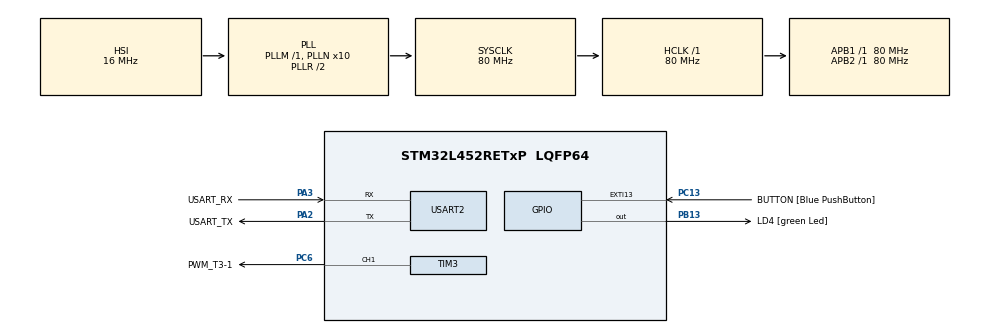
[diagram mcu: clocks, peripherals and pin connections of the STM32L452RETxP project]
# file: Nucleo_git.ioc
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FREERTOS.BinarySemaphores01=Led_PWMSem,Dynamic,NULL
FREERTOS.Tasks01=defaultTask,24,128,StartDefaultTask,Default,NULL,Dynamic,NULL,NULL;ButtonPress,24,128,StartButtonTask,Default,NULL,Dynamic,NULL,NULL;Led,24,128,StartLedTask,Default,NULL,Dynamic,NULL,NULL;PWMod,24,128,StartPWModTask,Default,NULL,Dynamic,NULL,NULL;Monitor,24,128,StartMonitorTask,Default,NULL,Dynamic,NULL,NULL
FREERTOS.configTOTAL_HEAP_SIZE=4096
FREERTOS.configUSE_NEWLIB_REENTRANT=1
Mcu.Family=STM32L4
Mcu.Name=STM32L452RETxP
Mcu.Package=LQFP64
NVIC.EXTI15_10_IRQn=true\:5\:0\:false\:false\:true\:true\:true\:true\:true
NVIC.PriorityGroup=NVIC_PRIORITYGROUP_4
NVIC.TIM2_IRQn=true\:15\:0\:false\:false\:true\:false\:false\:true\:true
NVIC.TimeBase=TIM2_IRQn
NVIC.TimeBaseIP=TIM2
PA13\ (JTMS/SWDIO).GPIO_Label=TMS
PA13\ (JTMS/SWDIO).Mode=Trace_Asynchronous_SW
PA13\ (JTMS/SWDIO).Signal=SYS_JTMS-SWDIO
PA14\ (JTCK/SWCLK).GPIO_Label=TCK
PA14\ (JTCK/SWCLK).Mode=Trace_Asynchronous_SW
PA14\ (JTCK/SWCLK).Signal=SYS_JTCK-SWCLK
PA2.GPIO_Label=USART_TX
PA2.GPIO_Mode=GPIO_MODE_AF_PP
PA2.GPIO_PuPd=GPIO_NOPULL
PA2.GPIO_Speed=GPIO_SPEED_FREQ_VERY_HIGH
PA2.Mode=Asynchronous
PA2.Signal=USART2_TX
PA3.GPIO_Label=USART_RX
PA3.GPIO_Mode=GPIO_MODE_AF_PP
PA3.GPIO_PuPd=GPIO_NOPULL
PA3.GPIO_Speed=GPIO_SPEED_FREQ_VERY_HIGH
PA3.Mode=Asynchronous
PA3.Signal=USART2_RX
PB13.GPIO_Label=LD4 [green Led]
PB13.Signal=GPIO_Output
PB3\ (JTDO/TRACESWO).GPIO_Label=SWO
PB3\ (JTDO/TRACESWO).Mode=Trace_Asynchronous_SW
PB3\ (JTDO/TRACESWO).Signal=SYS_JTDO-SWO
PC13.GPIO_Label=BUTTON [Blue PushButton]
PC13.GPIO_ModeDefaultEXTI=GPIO_MODE_IT_FALLING
PC13.GPIO_PuPd=GPIO_NOPULL
PC13.Signal=GPXTI13
PC14-OSC32_IN\ (PC14).Mode=LSE-External-Oscillator
PC14-OSC32_IN\ (PC14).Signal=RCC_OSC32_IN
PC15-OSC32_OUT\ (PC15).Mode=LSE-External-Oscillator
PC15-OSC32_OUT\ (PC15).Signal=RCC_OSC32_OUT
PC6.GPIO_Label=PWM_T3-1
PC6.Signal=S_TIM3_CH1
PH0-OSC_IN\ (PH0).GPIO_Label=MCO
PH0-OSC_IN\ (PH0).Mode=HSE-External-Clock-Source
PH0-OSC_IN\ (PH0).Signal=RCC_OSC_IN
PH1-OSC_OUT\ (PH1).Signal=RCC_OSC_OUT
ProjectManager.HeapSize=0x200
ProjectManager.StackSize=0x400
ProjectManager.TargetToolchain=STM32CubeIDE
RCC.ADCFreq_Value=64000000
RCC.AHBFreq_Value=80000000
RCC.APB1Freq_Value=80000000
RCC.APB1TimFreq_Value=80000000
RCC.APB2Freq_Value=80000000
RCC.APB2TimFreq_Value=80000000
RCC.CortexFreq_Value=80000000
RCC.HCLKFreq_Value=80000000
RCC.HSE_VALUE=8000000
RCC.HSI48_VALUE=48000000
RCC.HSI_VALUE=16000000
RCC.MSI_VALUE=4000000
RCC.PLLN=10
RCC.PLLSourceVirtual=RCC_PLLSOURCE_HSI
RCC.PREFETCH_ENABLE=1
RCC.RTCClockSelection=RCC_RTCCLKSOURCE_LSE
RCC.SYSCLKFreq_VALUE=80000000
RCC.SYSCLKSource=RCC_SYSCLKSOURCE_PLLCLK
RCC.USBFreq_Value=64000000
RCC.VCOOutputFreq_Value=160000000
RTC.Format=RTC_FORMAT_BIN
RTC.Hours=0
SH.S_TIM3_CH1.0=TIM3_CH1,PWM Generation1 CH1
TIM3.Channel-PWM\ Generation1\ CH1=TIM_CHANNEL_1
USART2.VirtualMode-Asynchronous=VM_ASYNC
VP_FREERTOS_VS_CMSIS_V2.Mode=CMSIS_V2
VP_RTC_VS_RTC_Activate.Mode=RTC_Enabled
VP_RTC_VS_RTC_Calendar.Mode=RTC_Calendar
VP_SYS_VS_tim2.Mode=TIM2
VP_TIM3_VS_ClockSourceINT.Mode=Internal
board=NUCLEO-L452RE-P

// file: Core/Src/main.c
/* USER CODE BEGIN Header */
/**
 ******************************************************************************
 * @file           : main.c
 * @brief          : Main program body
 ******************************************************************************
 * @attention
 *
 * 4май23
 * Проверка работоспособности перед возобновлением работы
 * Пришлось обновлять Github Desctop
 * 26апр22
 * @Biriuk
 * peotr60@mail.ru
 *
 * Nucleo_git
 * Изучение микроконтроллера STM32 в среде STM32CubeIDE с помощью библиотеки HAL
 * с использованием отладочной платы NUCLEO-L452RE-P в части применения прерываний
 * совместно с RTOS-CMSIS
 *
 * !!!!!!!!!!!!!!!!!!!!!!!!!!!!!!!!!!!!!!!!!!!!!!!!!!!!!!!!!!!!!!!!!!!!!!!!!!!!!!!!
 * ВНИМАНИЕ!
 * При использовании RTC в библиотеке HAL имеется серьёзный баг (время стоит), который можно
 * обойти следующим образом:
 * В файле stm32l4xx_hal_rtc.c (Drivers / Src / stm32l4xx_hal_rtc.c) закомментировать строку:
 *
 * 1560	// sTime->SubSeconds = (uint32_t)(hrtc->Instance->SSR);
 *
 * При этом следует иметь в виду, что каждый раз после пересборки проекта придётся каждый раз
 * закоментировать эту строку вручную.
 * Подробнее см. README.md
 * !!!!!!!!!!!!!!!!!!!!!!!!!!!!!!!!!!!!!!!!!!!!!!!!!!!!!!!!!!!!!!!!!!!!!!!!!!!!!!!!
 *
 * !!!!!!!!!!!!!!!!!!!!!!!!!!!!!!!!!!!!!!!!!!!!!!!!!!!!!!!!!!!!!!!!!!!!!!!!!!!!!!!!
 * ВНИМАНИЕ! В проекте Nucleo_git на ветке изучения прерываний совместно с RTOS-CMSIS обнаружил
 * проблему, решить которую не мог несколько дней. Не было вывода информации на ПК по каналу SWO.
 * Сравнение с действующим проектом RTOS_ETAPY показало отсутствие файлов syscalls.c и sysmem.c
 * в Core / Src. Тупо взял эти файлы из проекта RTOS_ETAPY, и вставил в
 * D:\STM32\STM32_File\Nucleo_git\Core\Src, и ВСЁ ЗАРАБОТАЛО!
 * !!!!!!!!!!!!!!!!!!!!!!!!!!!!!!!!!!!!!!!!!!!!!!!!!!!!!!!!!!!!!!!!!!!!!!!!!!!!!!!!
 *
 * Ветка RTOS_ISR, на которой расположен код для изучения прерываний в среде RTOS,
 * сохраняемая в GitHub по адресу:
 * https://github.com/Peotr-B/Nucleo_git.git
 *
 * Ещё см. READMY.md
 *
 * За основу взят материал:
 *
 * STM32 от Булкина. Урок 1: Вводный, где мы немножко похулиганим
 * https://pikabu.ru/story/stm32_ot_bulkina_urok_1_vvodnyiy_gde_myi_nemnozhko_pokhuliganim_5526124
 *
 * а также:
 *
 * FreeRTOS для чайников. Краткое описание
 * http://easyelectronics.ru/freertos_manual.html
 *
 * STM Урок 116. FreeRTOS. Прерывания. Очереди в прерываниях
 * https://narodstream.ru/stm-urok-116-freertos-preryvaniya-ocheredi-v-preryvaniyax-chast-1/
 *
 * Используем светофоры в системе FreeRTOS на базе платы Arduino Nano в среде программирования Arduino IDE
 * https://texnohelp.com/arduino_freertos_lesson3/
 *
 * Осваиваем FreeRtos на примере приема-передачи по UART
 * https://kkmspb.ru/development/microcontrollers/UART/ISR_UART_Atollic_STM32F407VE.php
 *
 * Прерывания UART в FreeRTOS с драйвером STM32 HAL
 * https://question-it.com/questions/3532617/preryvanija-uart-v-freertos-s-drajverom-stm32-hal
 *
 * Copyright (c) 2022 STMicroelectronics.
 * All rights reserved.
 *
 * This software is licensed under terms that can be found in the LICENSE file
 * in the root directory of this software component.
 * If no LICENSE file comes with this software, it is provided AS-IS.
 *
 ******************************************************************************
 */
/* USER CODE END Header */
#include "main.h"
#include "cmsis_os.h"

/* USER CODE BEGIN Includes */
#include "string.h" // это для функции strlen()
#include <stdio.h>
/* USER CODE END Includes */

RTC_HandleTypeDef hrtc;

TIM_HandleTypeDef htim3;

UART_HandleTypeDef huart2;

/* Definitions for defaultTask */
osThreadId_t defaultTaskHandle;
const osThreadAttr_t defaultTask_attributes = {
  .name = "defaultTask",
  .stack_size = 128 * 4,
  .priority = (osPriority_t) osPriorityNormal,
};
/* Definitions for ButtonPress */
osThreadId_t ButtonPressHandle;
const osThreadAttr_t ButtonPress_attributes = {
  .name = "ButtonPress",
  .stack_size = 128 * 4,
  .priority = (osPriority_t) osPriorityNormal,
};
/* Definitions for Led */
osThreadId_t LedHandle;
const osThreadAttr_t Led_attributes = {
  .name = "Led",
  .stack_size = 128 * 4,
  .priority = (osPriority_t) osPriorityNormal,
};
/* Definitions for PWMod */
osThreadId_t PWModHandle;
const osThreadAttr_t PWMod_attributes = {
  .name = "PWMod",
  .stack_size = 128 * 4,
  .priority = (osPriority_t) osPriorityNormal,
};
/* Definitions for Monitor */
osThreadId_t MonitorHandle;
const osThreadAttr_t Monitor_attributes = {
  .name = "Monitor",
  .stack_size = 128 * 4,
  .priority = (osPriority_t) osPriorityNormal,
};
/* Definitions for Led_PWMSem */
osSemaphoreId_t Led_PWMSemHandle;
const osSemaphoreAttr_t Led_PWMSem_attributes = {
  .name = "Led_PWMSem"
};
/* USER CODE BEGIN PV */
//RTC_TimeTypeDef rtcTime;
//RTC_DateTypeDef rtcDate;
RTC_TimeTypeDef sTime;
RTC_DateTypeDef sDate;

int LED_State = 0;
int T_LED = 200;
int Btn_State = 0;
char str1[258];	//ВНИМАНИЕ! 256 + 2 на символы \r\n!!!

/* USER CODE END PV */

void SystemClock_Config(void);
static void MX_GPIO_Init(void);
static void MX_USART2_UART_Init(void);
static void MX_RTC_Init(void);
static void MX_TIM3_Init(void);
void StartDefaultTask(void *argument);
void StartButtonTask(void *argument);
void StartLedTask(void *argument);
void StartPWModTask(void *argument);
void StartMonitorTask(void *argument);

int main(void)
{

  /* MCU Configuration--------------------------------------------------------*/

  /* Reset of all peripherals, Initializes the Flash interface and the Systick. */
  HAL_Init();

  /* Configure the system clock */
  SystemClock_Config();

  /* Initialize all configured peripherals */
  MX_GPIO_Init();
  MX_USART2_UART_Init();
  MX_RTC_Init();
  MX_TIM3_Init();
  /* USER CODE BEGIN 2 */
	HAL_TIM_PWM_Start(&htim3, TIM_CHANNEL_1);
  /* USER CODE END 2 */

  /* Init scheduler */
  osKernelInitialize();

  /* Create the semaphores(s) */
  /* creation of Led_PWMSem */
  Led_PWMSemHandle = osSemaphoreNew(1, 1, &Led_PWMSem_attributes);

  /* Create the thread(s) */
  /* creation of defaultTask */
  defaultTaskHandle = osThreadNew(StartDefaultTask, NULL, &defaultTask_attributes);

  /* creation of ButtonPress */
  ButtonPressHandle = osThreadNew(StartButtonTask, NULL, &ButtonPress_attributes);

  /* creation of Led */
  LedHandle = osThreadNew(StartLedTask, NULL, &Led_attributes);

  /* creation of PWMod */
  PWModHandle = osThreadNew(StartPWModTask, NULL, &PWMod_attributes);

  /* creation of Monitor */
  MonitorHandle = osThreadNew(StartMonitorTask, NULL, &Monitor_attributes);

  /* Start scheduler */
  osKernelStart();

  /* We should never get here as control is now taken by the scheduler */
  /* Infinite loop */
	while (1)
	{

	}
}

void SystemClock_Config(void)
{
  RCC_OscInitTypeDef RCC_OscInitStruct = {0};
  RCC_ClkInitTypeDef RCC_ClkInitStruct = {0};

  /** Configure the main internal regulator output voltage
  */
  if (HAL_PWREx_ControlVoltageScaling(PWR_REGULATOR_VOLTAGE_SCALE1) != HAL_OK)
  {
    Error_Handler();
  }

  /** Configure LSE Drive Capability
  */
  HAL_PWR_EnableBkUpAccess();
  __HAL_RCC_LSEDRIVE_CONFIG(RCC_LSEDRIVE_LOW);

  /** Initializes the RCC Oscillators according to the specified parameters
  * in the RCC_OscInitTypeDef structure.
  */
  RCC_OscInitStruct.OscillatorType = RCC_OSCILLATORTYPE_HSI|RCC_OSCILLATORTYPE_LSE;
  RCC_OscInitStruct.LSEState = RCC_LSE_ON;
  RCC_OscInitStruct.HSIState = RCC_HSI_ON;
  RCC_OscInitStruct.HSICalibrationValue = RCC_HSICALIBRATION_DEFAULT;
  RCC_OscInitStruct.PLL.PLLState = RCC_PLL_ON;
  RCC_OscInitStruct.PLL.PLLSource = RCC_PLLSOURCE_HSI;
  RCC_OscInitStruct.PLL.PLLM = 1;
  RCC_OscInitStruct.PLL.PLLN = 10;
  RCC_OscInitStruct.PLL.PLLP = RCC_PLLP_DIV7;
  RCC_OscInitStruct.PLL.PLLQ = RCC_PLLQ_DIV2;
  RCC_OscInitStruct.PLL.PLLR = RCC_PLLR_DIV2;
  if (HAL_RCC_OscConfig(&RCC_OscInitStruct) != HAL_OK)
  {
    Error_Handler();
  }

  /** Initializes the CPU, AHB and APB buses clocks
  */
  RCC_ClkInitStruct.ClockType = RCC_CLOCKTYPE_HCLK|RCC_CLOCKTYPE_SYSCLK
                              |RCC_CLOCKTYPE_PCLK1|RCC_CLOCKTYPE_PCLK2;
  RCC_ClkInitStruct.SYSCLKSource = RCC_SYSCLKSOURCE_PLLCLK;
  RCC_ClkInitStruct.AHBCLKDivider = RCC_SYSCLK_DIV1;
  RCC_ClkInitStruct.APB1CLKDivider = RCC_HCLK_DIV1;
  RCC_ClkInitStruct.APB2CLKDivider = RCC_HCLK_DIV1;

  if (HAL_RCC_ClockConfig(&RCC_ClkInitStruct, FLASH_LATENCY_4) != HAL_OK)
  {
    Error_Handler();
  }
}

static void MX_RTC_Init(void)
{

  RTC_TimeTypeDef sTime = {0};
  RTC_DateTypeDef sDate = {0};

  /** Initialize RTC Only
  */
  hrtc.Instance = RTC;
  hrtc.Init.HourFormat = RTC_HOURFORMAT_24;
  hrtc.Init.AsynchPrediv = 127;
  hrtc.Init.SynchPrediv = 255;
  hrtc.Init.OutPut = RTC_OUTPUT_DISABLE;
  hrtc.Init.OutPutRemap = RTC_OUTPUT_REMAP_NONE;
  hrtc.Init.OutPutPolarity = RTC_OUTPUT_POLARITY_HIGH;
  hrtc.Init.OutPutType = RTC_OUTPUT_TYPE_OPENDRAIN;
  if (HAL_RTC_Init(&hrtc) != HAL_OK)
  {
    Error_Handler();
  }

  /** Initialize RTC and set the Time and Date
  */
  sTime.Hours = 0;
  sTime.Minutes = 0;
  sTime.Seconds = 0;
  sTime.DayLightSaving = RTC_DAYLIGHTSAVING_NONE;
  sTime.StoreOperation = RTC_STOREOPERATION_RESET;
  if (HAL_RTC_SetTime(&hrtc, &sTime, RTC_FORMAT_BIN) != HAL_OK)
  {
    Error_Handler();
  }
  sDate.WeekDay = RTC_WEEKDAY_MONDAY;
  sDate.Month = RTC_MONTH_JANUARY;
  sDate.Date = 1;
  sDate.Year = 0;

  if (HAL_RTC_SetDate(&hrtc, &sDate, RTC_FORMAT_BIN) != HAL_OK)
  {
    Error_Handler();
  }

}

static void MX_TIM3_Init(void)
{

  TIM_ClockConfigTypeDef sClockSourceConfig = {0};
  TIM_MasterConfigTypeDef sMasterConfig = {0};
  TIM_OC_InitTypeDef sConfigOC = {0};

  htim3.Instance = TIM3;
  htim3.Init.Prescaler = 0;
  htim3.Init.CounterMode = TIM_COUNTERMODE_UP;
  htim3.Init.Period = 65535;
  htim3.Init.ClockDivision = TIM_CLOCKDIVISION_DIV1;
  htim3.Init.AutoReloadPreload = TIM_AUTORELOAD_PRELOAD_DISABLE;
  if (HAL_TIM_Base_Init(&htim3) != HAL_OK)
  {
    Error_Handler();
  }
  sClockSourceConfig.ClockSource = TIM_CLOCKSOURCE_INTERNAL;
  if (HAL_TIM_ConfigClockSource(&htim3, &sClockSourceConfig) != HAL_OK)
  {
    Error_Handler();
  }
  if (HAL_TIM_PWM_Init(&htim3) != HAL_OK)
  {
    Error_Handler();
  }
  sMasterConfig.MasterOutputTrigger = TIM_TRGO_RESET;
  sMasterConfig.MasterSlaveMode = TIM_MASTERSLAVEMODE_DISABLE;
  if (HAL_TIMEx_MasterConfigSynchronization(&htim3, &sMasterConfig) != HAL_OK)
  {
    Error_Handler();
  }
  sConfigOC.OCMode = TIM_OCMODE_PWM1;
  sConfigOC.Pulse = 0;
  sConfigOC.OCPolarity = TIM_OCPOLARITY_HIGH;
  sConfigOC.OCFastMode = TIM_OCFAST_DISABLE;
  if (HAL_TIM_PWM_ConfigChannel(&htim3, &sConfigOC, TIM_CHANNEL_1) != HAL_OK)
  {
    Error_Handler();
  }
  HAL_TIM_MspPostInit(&htim3);

}

static void MX_USART2_UART_Init(void)
{

  huart2.Instance = USART2;
  huart2.Init.BaudRate = 115200;
  huart2.Init.WordLength = UART_WORDLENGTH_8B;
  huart2.Init.StopBits = UART_STOPBITS_1;
  huart2.Init.Parity = UART_PARITY_NONE;
  huart2.Init.Mode = UART_MODE_TX_RX;
  huart2.Init.HwFlowCtl = UART_HWCONTROL_NONE;
  huart2.Init.OverSampling = UART_OVERSAMPLING_16;
  huart2.Init.OneBitSampling = UART_ONE_BIT_SAMPLE_DISABLE;
  huart2.AdvancedInit.AdvFeatureInit = UART_ADVFEATURE_NO_INIT;
  if (HAL_UART_Init(&huart2) != HAL_OK)
  {
    Error_Handler();
  }

}

static void MX_GPIO_Init(void)
{
  GPIO_InitTypeDef GPIO_InitStruct = {0};

  /* GPIO Ports Clock Enable */
  __HAL_RCC_GPIOC_CLK_ENABLE();
  __HAL_RCC_GPIOH_CLK_ENABLE();
  __HAL_RCC_GPIOA_CLK_ENABLE();
  __HAL_RCC_GPIOB_CLK_ENABLE();

  /*Configure GPIO pin Output Level */
  HAL_GPIO_WritePin(LD4_GPIO_Port, LD4_Pin, GPIO_PIN_RESET);

  /*Configure GPIO pin : BUTTON_Pin */
  GPIO_InitStruct.Pin = BUTTON_Pin;
  GPIO_InitStruct.Mode = GPIO_MODE_IT_FALLING;
  GPIO_InitStruct.Pull = GPIO_NOPULL;
  HAL_GPIO_Init(BUTTON_GPIO_Port, &GPIO_InitStruct);

  /*Configure GPIO pin : LD4_Pin */
  GPIO_InitStruct.Pin = LD4_Pin;
  GPIO_InitStruct.Mode = GPIO_MODE_OUTPUT_PP;
  GPIO_InitStruct.Pull = GPIO_NOPULL;
  GPIO_InitStruct.Speed = GPIO_SPEED_FREQ_LOW;
  HAL_GPIO_Init(LD4_GPIO_Port, &GPIO_InitStruct);

  /* EXTI interrupt init*/
  HAL_NVIC_SetPriority(EXTI15_10_IRQn, 5, 0);
  HAL_NVIC_EnableIRQ(EXTI15_10_IRQn);

}

/* USER CODE BEGIN 4 */
//это стандартная запись для посимвольного вывода информации в интерфейс ITM в среде STM32CubeIDE
//(должно быть в случае применения SWO)
//https://www.youtube.com/watch?v=nE-YrKpWjso&list=PL9lkEHy8EJU8a_bqiJXwGTo-uM_cPa98P
int __io_putchar(int ch)
{
	ITM_SendChar(ch);
	return ch;
}

//или:

//STM32: Отладка через SWO в STM32CubeIDE с доработкой ST-LINK
//https://www.youtube.com/watch?v=ST_fUu6ACzE

//int _write(int file, char *ptr, int len)
//{
//int i = 0;
//for(i = 0; i < len; i++)
//ITM_SendChar((*ptr++));
//return len;
//}

/* USER CODE END 4 */

void StartDefaultTask(void *argument)
{
  /* USER CODE BEGIN 5 */
	/*****************
	 * Задача по-умолчанию.
	 * Я предпочитаю пихать в неё всякие рутинные
	 * вещи, вроде инициальзации и сброса состояний,
	 * опроса с равными промежутками и прочее.
	 *
	 * Например, сейчас я сделал запуск задачи раз в
	 * секунду, и запрашиваю текущее время и дату
	 *****************/

	TickType_t xLastWakeTime;
	//const TickType_t xFrequency = 1000;
	const TickType_t xFrequency = T_LED;	//Уменьшиил такт для удобства
	xLastWakeTime = xTaskGetTickCount();

	/* Infinite loop */
	for (;;)
	{
		HAL_GPIO_TogglePin(LD4_GPIO_Port, LD4_Pin);
		LED_State = HAL_GPIO_ReadPin(LD4_GPIO_Port, LD4_Pin);
		//osDelay(T_LED);

		// Тут можно запускать какие-то действия
		//HAL_RTC_GetTime(&hrtc, &sTime, RTC_FORMAT_BIN);
		//HAL_RTC_GetDate(&hrtc, &sDate, RTC_FORMAT_BIN);

		if (HAL_RTC_GetTime(&hrtc, &sTime, RTC_FORMAT_BIN) != HAL_OK)
		{
			printf("HAL_RTC_GetTime failed");
			Error_Handler();
		}

		//uint ICR = (uint32_t)(hrtc.Instance->CR);
		//uint ICR = (uint32_t)(RTC->CR);
		//printf("CR =  %u\r\n", ICR);

		puts("RTOS (puts): режим LED + Time");  //Для puts, перевод каретки задан по умолчанию
		printf("Time--%d:%d:%d\r\n", sTime.Hours, sTime.Minutes, sTime.Seconds);//Для SWO

		//Для USB:
		snprintf(str1, sizeof(str1), "Time %d:%d:%d\n", sTime.Hours,
				sTime.Minutes, sTime.Seconds);
		HAL_UART_Transmit(&huart2, (uint8_t*) str1, strlen(str1),
		HAL_MAX_DELAY);

		// Благодаря этой функции, задача будет
		// уходить на новый круг в равные промежутки
		// времени.
		vTaskDelayUntil(&xLastWakeTime, xFrequency);
		//osDelay(1);
	}
  /* USER CODE END 5 */
}

void StartButtonTask(void *argument)
{
	for (;;)
	{
		osDelay(1);
	}
}

void StartLedTask(void *argument)
{
	for (;;)
	{
		osDelay(1);
	}
}

void StartPWModTask(void *argument)		//см. скетч от 17апр22
{
  /* USER CODE BEGIN StartPWModTask */
	/* Infinite loop */
	for(;;)
	  {
	      for (int i = 0; i <= 131072; i++)
			{
				if (i < 65536)
					TIM3->CCR1 = i;
				else if ((i > 65535) && (i < 131072))
					TIM3->CCR1 = 131071 - i;
			}
	      //osDelay(50);
	      osThreadYield();
	  }
  /* USER CODE END StartPWModTask */
}

void StartMonitorTask(void *argument)
{
	for (;;)
	{
		osDelay(1);
	}
}

void HAL_TIM_PeriodElapsedCallback(TIM_HandleTypeDef *htim)
{
  if (htim->Instance == TIM2) {
    HAL_IncTick();
  }
}

void Error_Handler(void)
{
	__disable_irq();
	while (1)
	{
	}
}
